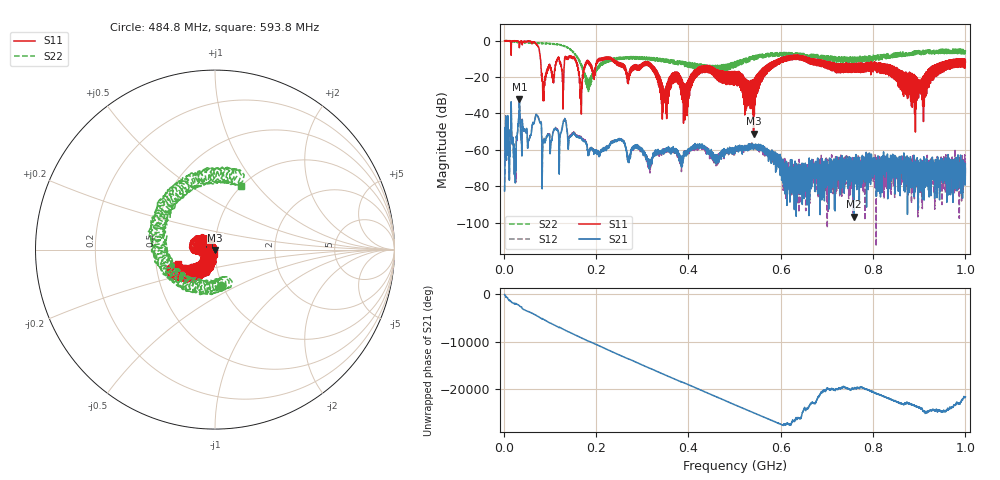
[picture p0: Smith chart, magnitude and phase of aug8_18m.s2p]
!Keysight Technologies N9923A: A.12.45
!Date: Friday, 08 August 2025 17:40:41
!Timezone: (UTC+08:00) Kuala Lumpur, Singapore
!Model: N9923A
!Serial: MY61181427
!GPS Latitude:
!GPS Longitude:
!GPS TimeStamp: 0001-01-01 00:00:00Z
!GPS Seconds Since Last Read: 0
!CHECKSUM:0249238008
!Correction: S11(ON U)S21(ON U)S12(ON U)S22(ON U)
!S2P File: Measurements:S11,S21,S12,S22:
# Hz S DB R 50
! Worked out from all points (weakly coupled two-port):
!   4001 points, 2 MHz to 1 GHz, reference 50 ohm
!   highest |S21| = -32.05 dB at 33.94 MHz (marker M1); lowest = -96.8 dB at 759 MHz (marker M2)
!   lowest |S11| = -51.2 dB at 541.2 MHz (marker M3), VSWR 1.01, Z = 50.1 - j0.259 ohm
!   |S11| at or under -10 dB: 155.1 MHz to 205.9 MHz (50.83 MHz wide, 28.2 % of centre); 235.8 MHz to 597.8 MHz (362 MHz wide, 86.8 % of centre); 667.2 MHz to 981 MHz (313.8 MHz wide, 38.1 % of centre) (the widest 3 of 73)
!   |S22| runs from -28.0 to 0.0 dB; largest |S21 - S12| = 0.001
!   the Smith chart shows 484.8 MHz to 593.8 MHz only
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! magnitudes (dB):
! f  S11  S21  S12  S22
! 2 MHz  -0.1  -82.6  -82.5  0.0
! 7.739 MHz  -0.2  -60.2  -60.5  -0.2
! 33.94 MHz  -3.9  -32.0  -32.0  -0.9
! 55.64 MHz  -0.4  -53.7  -53.4  -1.1
! 72.11 MHz  -2.3  -41.1  -40.9  -1.3
! 86.83 MHz  -33.1  -54.7  -54.4  -1.7
! 131.5 MHz  -12.0  -44.0  -43.5  -3.0
! 145.2 MHz  -8.5  -52.4  -52.3  -5.3
! 168.4 MHz  -35.8  -54.0  -53.3  -13.7
! 183.6 MHz  -11.4  -62.4  -62.9  -28.0
! 222.6 MHz  -9.1  -57.9  -59.3  -11.0
! 334.8 MHz  -19.3  -61.2  -59.9  -11.4
! 348.3 MHz  -33.5  -59.6  -60.9  -11.9
! 429.9 MHz  -14.1  -59.3  -58.4  -13.1
! 501 MHz  -16.9  -59.1  -61.5  -14.8
! 541.2 MHz  -51.2  -59.2  -57.7  -9.9
! 597.8 MHz  -9.9  -68.1  -65.7  -6.6
! 667.4 MHz  -10.4  -65.3  -74.1  -8.2
! 759 MHz  -13.6  -96.8  -67.1  -11.8
! 833.8 MHz  -18.1  -64.6  -68.6  -8.2
! 896.5 MHz  -24.7  -74.0  -81.6  -5.9
! 1 GHz  -11.8  -70.3  -66.3  -6.1
